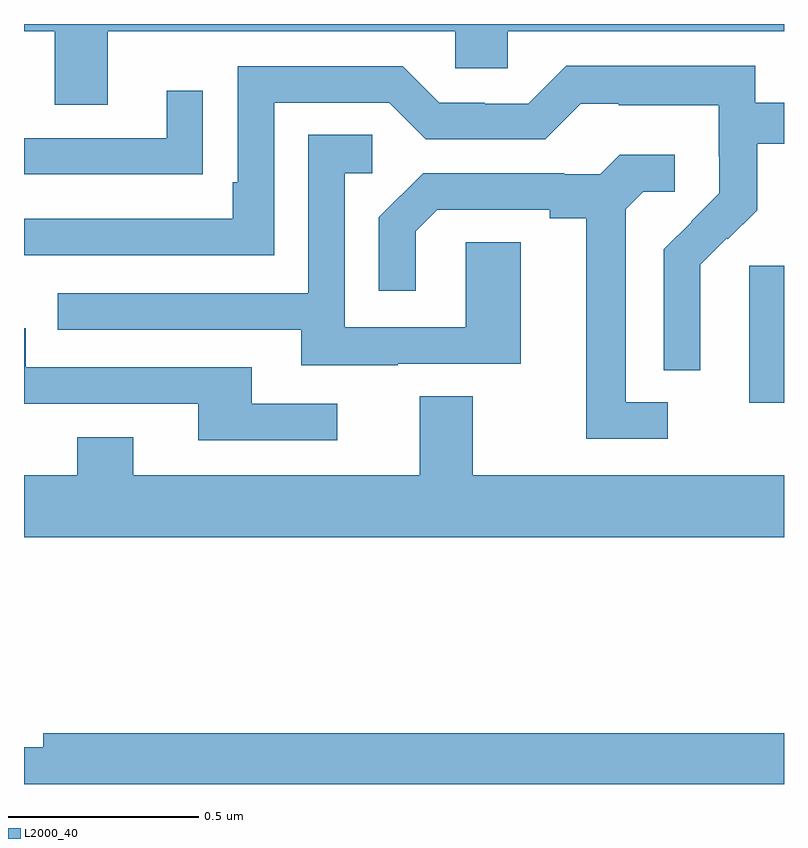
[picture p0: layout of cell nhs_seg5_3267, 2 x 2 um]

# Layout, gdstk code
import gdstk
lib = gdstk.Library(unit=1e-6, precision=1e-09)
def R(c, l, rs):  # rectangles x0, y0, x1, y1
    for r in rs: c.add(gdstk.rectangle(r[:2], r[2:], *l))
def P(c, l, *ps):  # polygons
    for p in ps: c.add(gdstk.Polygon(p, *l))
L2000_40 = (2000, 40)

nhs_seg5_3267 = lib.new_cell('nhs_seg5_3267')
R(nhs_seg5_3267, L2000_40, [(156.908,835.802,157,836.163)])
P(nhs_seg5_3267, L2000_40, [(155.221,836.78),(156.135,836.78),(156.135,836.682),(156.273,836.682),(156.273,836.78),(157,836.78),(157,836.799),(155,836.799),(155,836.78),(155.081,836.78),(155.081,836.586),(155.221,836.586)],
  [(156.78,836.042),(156.779,836.042),(156.779,836.165),(156.849,836.235),(156.852,836.232),(156.929,836.309),(156.929,836.484),(157,836.484),(157,836.592),(156.924,836.592),(156.924,836.689),(156.427,836.689),(156.327,836.589),(156.212,836.589),(156.212,836.592),(156.093,836.592),(155.997,836.688),(155.562,836.688),(155.562,836.383),(155.549,836.383),(155.549,836.286),(155,836.286),(155,836.19),(155.658,836.19),(155.658,836.592),(155.961,836.592),(156.057,836.496),(156.372,836.496),(156.465,836.589),(156.565,836.589),(156.565,836.585),(156.828,836.585),(156.828,836.451),(156.83,836.451),(156.83,836.354),(156.756,836.28),(156.757,836.279),(156.684,836.206),(156.684,835.888),(156.78,835.888)],
  [(155.369,836.404),(155.471,836.404),(155.471,836.623),(155.375,836.623),(155.375,836.499),(155,836.499),(155,836.403),(155.369,836.403)],
  [(155.983,835.905),(156.307,835.905),(156.307,836.225),(156.162,836.225),(156.162,836.001),(155.844,836.001),(155.844,836.406),(155.917,836.406),(155.917,836.507),(155.748,836.507),(155.748,836.091),(155.089,836.091),(155.089,835.995),(155.729,835.995),(155.729,835.901),(155.983,835.901)],
  [(156.694,835.803),(156.583,835.803),(156.583,836.311),(156.63,836.358),(156.712,836.358),(156.712,836.455),(156.568,836.455),(156.516,836.403),(156.422,836.403),(156.422,836.406),(156.05,836.406),(155.934,836.29),(155.934,836.097),(156.031,836.097),(156.031,836.253),(156.088,836.31),(156.383,836.31),(156.383,836.288),(156.479,836.288),(156.479,835.707),(156.694,835.707)],
  [(155.824,835.8),(155.599,835.8),(155.599,835.896),(155.004,835.896),(155.004,835.999),(155,835.999),(155,835.8),(155.459,835.8),(155.459,835.704),(155.824,835.704)],
  [(157,835.612),(156.181,835.612),(156.181,835.82),(156.041,835.82),(156.041,835.612),(155.287,835.612),(155.287,835.711),(155.14,835.711),(155.14,835.612),(155,835.612),(155,835.448),(157,835.448)],
  [(157,834.932),(155.051,834.932),(155.051,834.896),(155,834.896),(155,834.799),(157,834.799)])

lib.write_gds('nhs_seg5_3267.gds')
